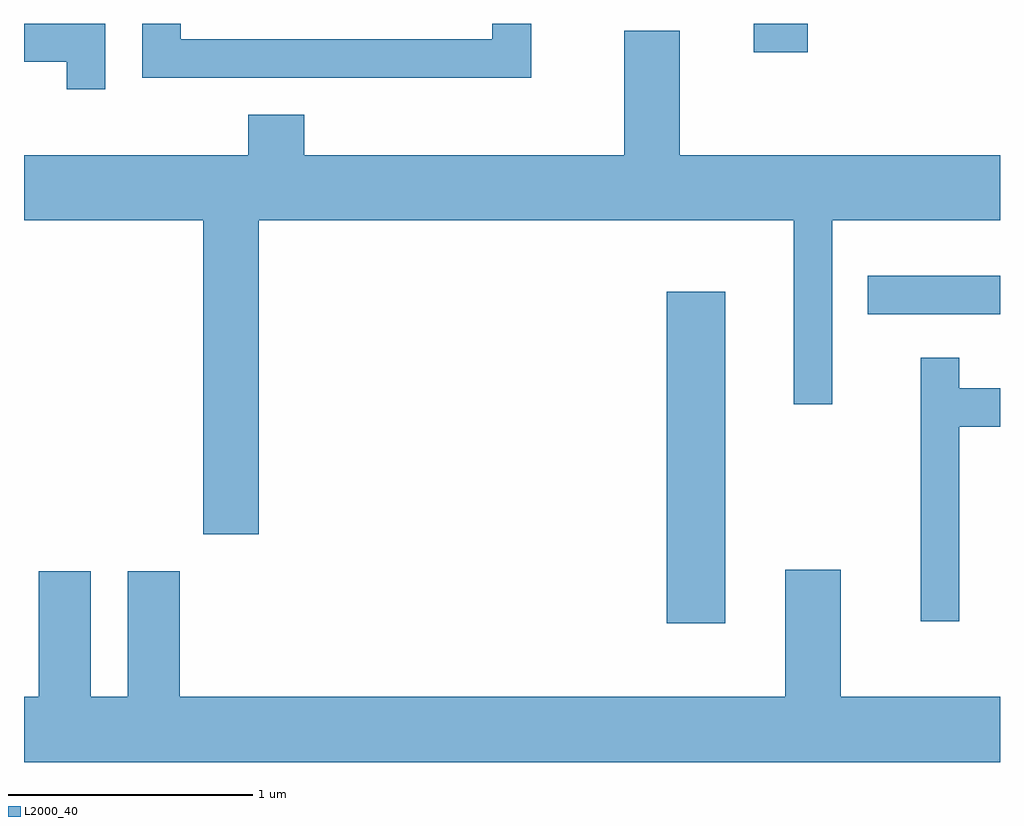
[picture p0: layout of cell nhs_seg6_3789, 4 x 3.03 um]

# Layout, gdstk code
import gdstk
lib = gdstk.Library(unit=1e-6, precision=1e-09)
def R(c, l, rs):  # rectangles x0, y0, x1, y1
    for r in rs: c.add(gdstk.rectangle(r[:2], r[2:], *l))
def P(c, l, *ps):  # polygons
    for p in ps: c.add(gdstk.Polygon(p, *l))
L2000_40 = (2000, 40)

nhs_seg6_3789 = lib.new_cell('nhs_seg6_3789')
R(nhs_seg6_3789, L2000_40, [(302.246,1561.706,302.484,1563.064), (303.068,1562.971,303.611,1563.129), (302.601,1564.046,302.824,1564.162)])
P(nhs_seg6_3789, L2000_40, [(301.689,1564.162),(301.531,1564.162),(301.531,1564.099),(300.254,1564.099),(300.254,1564.162),(300.096,1564.162),(300.096,1563.941),(301.689,1563.941)],
  [(299.944,1564.162),(299.611,1564.162),(299.611,1564.006),(299.786,1564.006),(299.786,1563.893),(299.944,1563.893)],
  [(302.071,1564.134),(302.071,1563.624),(300.759,1563.624),(300.759,1563.789),(300.531,1563.789),(300.531,1563.624),(299.611,1563.624),(299.611,1563.356),(300.346,1563.356),(300.346,1562.071),(300.574,1562.071),(300.574,1563.356),(302.766,1563.356),(302.766,1562.603),(302.924,1562.603),(302.924,1563.356),(303.611,1563.356),(303.611,1563.624),(302.299,1563.624),(302.299,1564.134)],
  [(303.444,1562.511),(303.611,1562.511),(303.611,1562.669),(303.444,1562.669),(303.444,1562.793),(303.286,1562.793),(303.286,1561.713),(303.444,1561.713)],
  [(303.611,1561.404),(302.959,1561.404),(302.959,1561.924),(302.731,1561.924),(302.731,1561.404),(300.249,1561.404),(300.249,1561.919),(300.036,1561.919),(300.036,1561.404),(299.884,1561.404),(299.884,1561.919),(299.671,1561.919),(299.671,1561.404),(299.611,1561.404),(299.611,1561.136),(303.611,1561.136)])

lib.write_gds('nhs_seg6_3789.gds')
